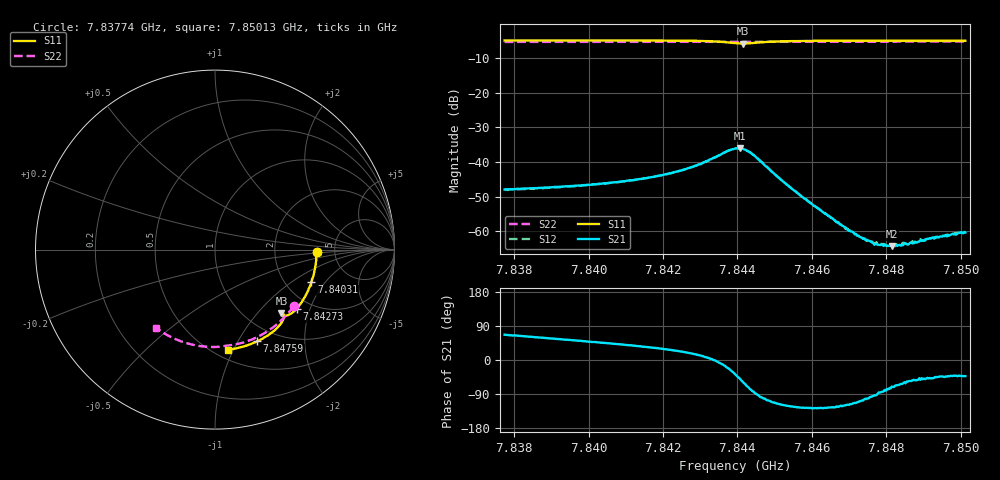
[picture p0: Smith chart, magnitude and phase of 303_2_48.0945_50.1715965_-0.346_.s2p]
#  HZ  S  RI  R  50.00
! Rohde & Schwarz Vector Network Analyzer
! Rohde-Schwarz,ZNB20-2Port,1311601062101988,3.16
! Created: UTC 12/23/2023, 4:05:00 AM
! freq[Hz]  re:S11  im:S11  re:S21  im:S21  re:S12  im:S12  re:S22  im:S22
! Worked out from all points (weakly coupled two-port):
!   401 points, 7.83774 GHz to 7.85013 GHz, reference 50 ohm
!   highest |S21| = -35.96 dB at 7.84406 GHz (marker M1); lowest = -64.2 dB at 7.84815 GHz (marker M2)
!   lowest |S11| = -5.8 dB at 7.84415 GHz (marker M3), VSWR 3.10, Z = 70.7 - j67.8 ohm
!   |S11| at or under -10 dB: nowhere
!   |S22| runs from -5.4 to -5.3 dB; largest |S21 - S12| = 0.00035
!   S11 on the Smith chart (normalised r, x): 7.83774 GHz: 3.61, -0.14; 7.84031 GHz: 2.74, -1.47; 7.84273 GHz: 1.68, -1.62; 7.84759 GHz: 0.81, -1.21; 7.85013 GHz: 0.58, -0.95
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7.837743e9  0.5663 -0.0136  0.00159 0.0037  0.00161 0.00364  0.4394 -0.3136
7.839818e9  0.5467 -0.1504  0.00296 0.00356  0.00291 0.0035  0.3405 -0.4198
7.840313e9  0.5367 -0.1823  0.00339 0.00349  0.00333 0.0035  0.313 -0.441
7.841273e9  0.5117 -0.2428  0.00447 0.00338  0.00439 0.0034  0.2559 -0.4769
7.841893e9  0.4909 -0.2808  0.00547 0.00322  0.00543 0.00327  0.217 -0.4959
7.842729e9  0.4543 -0.3301  0.00792 0.00258  0.0079 0.00262  0.1618 -0.5166
7.843472e9  0.4062 -0.3654  0.0122 -0.00113  0.0122 -0.000962  0.1109 -0.5289
7.843937e9  0.372 -0.3624  0.0125 -0.00945  0.0124 -0.00932  0.0797 -0.533
7.84406e9  0.3693 -0.357  0.0105 -0.0119  0.0104 -0.0119  0.072 -0.534
7.844153e9  0.3703 -0.3537  0.00813 -0.0131  0.00829 -0.0131  0.0663 -0.5347
7.844463e9  0.3812 -0.3592  0.000768 -0.0123  0.000971 -0.0123  0.0463 -0.5383
7.845299e9  0.3644 -0.4163  -0.00243 -0.00421  -0.00243 -0.00426  -0.0121 -0.5426
7.846011e9  0.3279 -0.4533  -0.00151 -0.00195  -0.00149 -0.002  -0.0624 -0.5401
7.847002e9  0.271 -0.4927  -0.000486 -0.000907  -0.000438 -0.000928  -0.1312 -0.5282
7.847405e9  0.2467 -0.5054  -0.000196 -0.000767  -0.000174 -0.00077  -0.1585 -0.521
7.847591e9  0.2356 -0.5109  -9.11e-05 -0.000707  -9.68e-05 -0.000714  -0.171 -0.5173
7.847746e9  0.226 -0.5153  -2.53e-05 -0.000656  -3.81e-07 -0.000699  -0.1813 -0.5138
7.848086e9  0.2048 -0.5242  0.000165 -0.000596  0.000162 -0.000614  -0.2037 -0.5056
7.848148e9  0.201 -0.5258  0.00021 -0.000576  0.000153 -0.000606  -0.2078 -0.504
7.848396e9  0.1854 -0.5314  0.000281 -0.000558  0.000303 -0.000603  -0.2238 -0.4973
7.849201e9  0.1337 -0.5467  0.000523 -0.000594  0.000519 -0.0006  -0.2742 -0.4717
7.85013e9  0.0729 -0.5577  0.00071 -0.000653  0.00075 -0.000657  -0.3287 -0.4362
